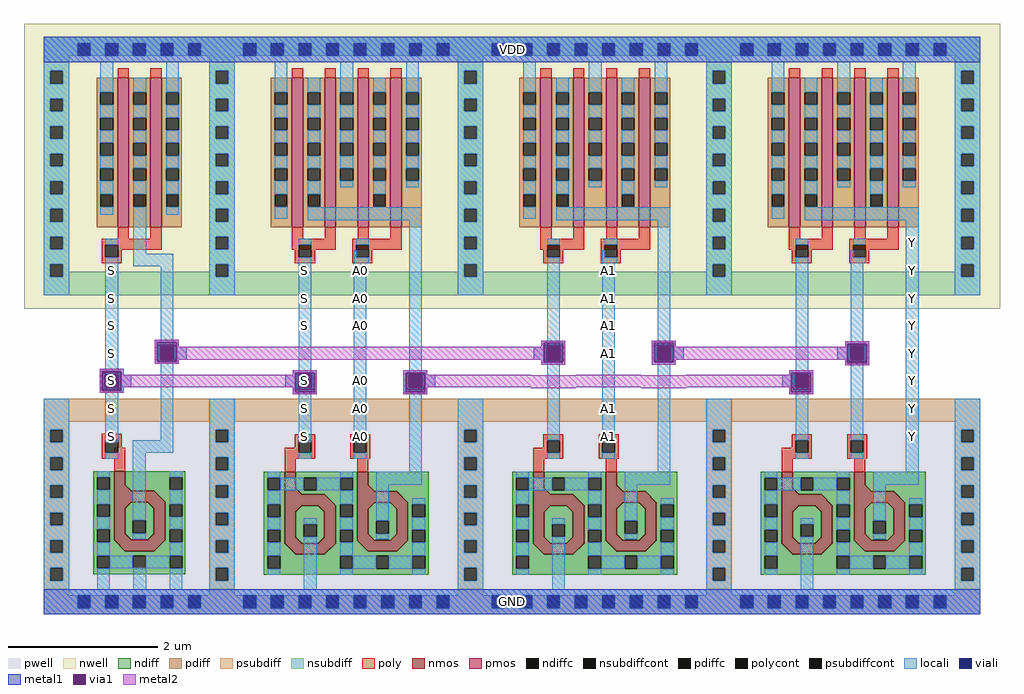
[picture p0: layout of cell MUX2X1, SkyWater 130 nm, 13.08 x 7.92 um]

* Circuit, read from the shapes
.subckt MUX2X1 Y A0 A1 S VDD GND
XM1 GND S n1 GND sky130_fd_pr__nfet_01v8 w=2.56 l=0.1469
XM2 n2 S GND GND sky130_fd_pr__nfet_01v8 w=2.6 l=0.1496
XM3 n2 A0 n3 GND sky130_fd_pr__nfet_01v8 w=2.56 l=0.1466
XM4 n4 n1 GND GND sky130_fd_pr__nfet_01v8 w=2.6 l=0.15
XM5 n4 A1 n5 GND sky130_fd_pr__nfet_01v8 w=2.56 l=0.1468
XM6 n6 n3 GND GND sky130_fd_pr__nfet_01v8 w=2.6 l=0.1495
XM7 n6 n5 Y GND sky130_fd_pr__nfet_01v8 w=2.56 l=0.1465
XM8 n1 S VDD VDD sky130_fd_pr__pfet_01v8 w=2 l=0.15 m=2
XM9 n3 S VDD VDD sky130_fd_pr__pfet_01v8 w=2 l=0.15 m=2
XM10 n3 A0 VDD VDD sky130_fd_pr__pfet_01v8 w=2 l=0.15 m=2
XM11 n5 n1 VDD VDD sky130_fd_pr__pfet_01v8 w=2 l=0.15 m=2
XM12 n5 A1 VDD VDD sky130_fd_pr__pfet_01v8 w=2 l=0.15 m=2
XM13 Y n3 VDD VDD sky130_fd_pr__pfet_01v8 w=2 l=0.15 m=2
XM14 Y n5 VDD VDD sky130_fd_pr__pfet_01v8 w=2 l=0.15 m=2
.ends

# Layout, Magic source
magic
tech sky130A
magscale 1 2
<< nwell >>
rect 57 1463 91 1497
<< pwell >>
rect 57 -17 91 17
<< locali >>
rect 2277 945 2311 979
rect 131 871 165 905
rect 649 871 683 905
rect 797 871 831 905
rect 1463 871 1497 905
rect 2277 871 2311 905
rect 131 797 165 831
rect 649 797 683 831
rect 797 797 831 831
rect 1463 797 1497 831
rect 2277 797 2311 831
rect 131 723 165 757
rect 649 723 683 757
rect 797 723 831 757
rect 1463 723 1497 757
rect 2277 723 2311 757
rect 131 649 165 683
rect 1463 649 1497 683
rect 2277 649 2311 683
rect 131 575 165 609
rect 649 575 683 609
rect 797 575 831 609
rect 2277 575 2311 609
rect 131 501 165 535
rect 649 501 683 535
rect 797 501 831 535
rect 1463 501 1497 535
rect 2277 501 2311 535
rect 131 427 165 461
rect 649 427 683 461
rect 797 427 831 461
rect 1463 427 1497 461
rect 2277 427 2311 461
<< metal1 >>
rect -34 1446 2476 1514
rect -34 -34 2476 34
use mux2x1_pcell  mux2x1_pcell_0 pcells
transform 1 0 0 0 1 0
box -87 -34 2529 1550
<< labels >>
rlabel locali 2277 649 2311 683 1 Y
port 1 nsew signal output
rlabel locali 2277 723 2311 757 1 Y
port 1 nsew signal output
rlabel locali 2277 797 2311 831 1 Y
port 1 nsew signal output
rlabel locali 2277 871 2311 905 1 Y
port 1 nsew signal output
rlabel locali 2277 945 2311 979 1 Y
port 1 nsew signal output
rlabel locali 2277 575 2311 609 1 Y
port 1 nsew signal output
rlabel locali 2277 501 2311 535 1 Y
port 1 nsew signal output
rlabel locali 2277 427 2311 461 1 Y
port 1 nsew signal output
rlabel locali 797 723 831 757 1 A0
port 2 nsew signal input
rlabel locali 797 797 831 831 1 A0
port 2 nsew signal input
rlabel locali 797 871 831 905 1 A0
port 2 nsew signal input
rlabel locali 797 575 831 609 1 A0
port 2 nsew signal input
rlabel locali 797 501 831 535 1 A0
port 2 nsew signal input
rlabel locali 797 427 831 461 1 A0
port 2 nsew signal input
rlabel locali 1463 723 1497 757 1 A1
port 3 nsew signal input
rlabel locali 1463 649 1497 683 1 A1
port 3 nsew signal input
rlabel locali 1463 501 1497 535 1 A1
port 3 nsew signal input
rlabel locali 1463 427 1497 461 1 A1
port 3 nsew signal input
rlabel locali 1463 871 1497 905 1 A1
port 3 nsew signal input
rlabel locali 1463 797 1497 831 1 A1
port 3 nsew signal input
rlabel locali 131 575 165 609 1 S
port 4 nsew signal input
rlabel locali 131 649 165 683 1 S
port 4 nsew signal input
rlabel locali 131 723 165 757 1 S
port 4 nsew signal input
rlabel locali 131 797 165 831 1 S
port 4 nsew signal input
rlabel locali 131 871 165 905 1 S
port 4 nsew signal input
rlabel locali 131 501 165 535 1 S
port 4 nsew signal input
rlabel locali 131 427 165 461 1 S
port 4 nsew signal input
rlabel locali 649 871 683 905 1 S
port 4 nsew signal input
rlabel locali 649 797 683 831 1 S
port 4 nsew signal input
rlabel locali 649 723 683 757 1 S
port 4 nsew signal input
rlabel locali 649 575 683 609 1 S
port 4 nsew signal input
rlabel locali 649 501 683 535 1 S
port 4 nsew signal input
rlabel locali 649 427 683 461 1 S
port 4 nsew signal input
rlabel metal1 -34 1446 2476 1514 1 VDD
port 5 nsew power bidirectional abutment
rlabel metal1 -34 -34 2476 34 1 GND
port 6 nsew ground bidirectional abutment


<< properties >>
string LEFclass CORE
string LEFsite unitrh
string FIXED_BBOX 0 0 2442 1480
string LEFsymmetry X Y R90
<< end >>

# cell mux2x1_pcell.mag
magic
tech sky130A
magscale 1 2
<< metal1 >>
rect 264 696 328 702
rect 264 644 270 696
rect 322 644 328 696
rect 264 638 328 644
rect 1300 694 1364 700
rect 1300 642 1306 694
rect 1358 642 1364 694
rect 1300 636 1364 642
rect 1596 694 1660 700
rect 1596 642 1602 694
rect 1654 642 1660 694
rect 1596 636 1660 642
rect 2114 692 2178 698
rect 2114 640 2120 692
rect 2172 640 2178 692
rect 2114 634 2178 640
rect 116 618 180 624
rect 116 566 122 618
rect 174 566 180 618
rect 116 560 180 566
rect 634 614 698 620
rect 634 562 640 614
rect 692 562 698 614
rect 634 556 698 562
rect 930 614 994 620
rect 930 562 936 614
rect 988 562 994 614
rect 930 556 994 562
rect 1964 614 2028 620
rect 1964 562 1970 614
rect 2022 562 2028 614
rect 1964 556 2028 562
<< via1 >>
rect 270 644 322 696
rect 1306 642 1358 694
rect 1602 642 1654 694
rect 2120 640 2172 692
rect 122 566 174 618
rect 640 562 692 614
rect 936 562 988 614
rect 1970 562 2022 614
<< metal2 >>
rect 264 696 328 702
rect 264 644 270 696
rect 322 683 328 696
rect 1300 694 1364 700
rect 1300 683 1306 694
rect 322 649 1306 683
rect 322 644 328 649
rect 264 638 328 644
rect 1300 642 1306 649
rect 1358 642 1364 694
rect 1300 636 1364 642
rect 1596 694 1660 700
rect 1596 642 1602 694
rect 1654 683 1660 694
rect 2114 692 2178 698
rect 2114 683 2120 692
rect 1654 649 2120 683
rect 1654 642 1660 649
rect 1596 636 1660 642
rect 2114 640 2120 649
rect 2172 640 2178 692
rect 2114 634 2178 640
rect 116 618 180 624
rect 116 566 122 618
rect 174 609 180 618
rect 634 614 698 620
rect 634 609 640 614
rect 174 575 640 609
rect 174 566 180 575
rect 116 560 180 566
rect 634 562 640 575
rect 692 562 698 614
rect 634 556 698 562
rect 930 614 994 620
rect 930 562 936 614
rect 988 609 994 614
rect 1964 614 2028 620
rect 1964 609 1970 614
rect 988 607 1272 609
rect 1392 607 1568 609
rect 1688 607 1970 609
rect 988 575 1970 607
rect 988 562 994 575
rect 1272 573 1392 575
rect 1568 573 1688 575
rect 930 556 994 562
rect 1964 562 1970 575
rect 2022 562 2028 614
rect 1964 556 2028 562
use invx1_pcell  invx1_pcell_0
transform 1 0 0 0 1 0
box -87 -34 531 1550
use li1_M1_contact  li1_M1_contact_0
transform 1 0 666 0 1 592
box -53 -33 29 33
use li1_M1_contact  li1_M1_contact_1
transform -1 0 296 0 -1 666
box -53 -33 29 33
use li1_M1_contact  li1_M1_contact_2
transform 1 0 1332 0 1 666
box -53 -33 29 33
use li1_M1_contact  li1_M1_contact_3
transform -1 0 962 0 -1 592
box -53 -33 29 33
use li1_M1_contact  li1_M1_contact_4
transform -1 0 1628 0 -1 666
box -53 -33 29 33
use li1_M1_contact  li1_M1_contact_5
transform 1 0 1998 0 1 592
box -53 -33 29 33
use li1_M1_contact  li1_M1_contact_6
transform -1 0 148 0 -1 592
box -53 -33 29 33
use li1_M1_contact  li1_M1_contact_7
transform 1 0 2146 0 1 666
box -53 -33 29 33
use nand2x1_pcell  nand2x1_pcell_0
transform 1 0 444 0 1 0
box -87 -34 753 1550
use nand2x1_pcell  nand2x1_pcell_1
transform 1 0 1110 0 1 0
box -87 -34 753 1550
use nand2x1_pcell  nand2x1_pcell_2
transform 1 0 1776 0 1 0
box -87 -34 753 1550
<< end >>

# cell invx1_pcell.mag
magic
tech sky130A
magscale 1 2
<< nwell >>
rect -87 786 531 1550
<< pwell >>
rect -34 -34 478 544
<< pdiffc >>
rect 118 1059 152 1093
rect 206 1059 240 1093
rect 294 1059 328 1093
<< psubdiff >>
rect 34 482 410 544
rect 34 -17 57 17
rect 91 -17 131 17
rect 165 -17 205 17
rect 239 -17 279 17
rect 313 -17 353 17
rect 387 -17 410 17
rect 34 -34 410 -17
<< nsubdiff >>
rect 34 1497 410 1514
rect 34 1463 57 1497
rect 91 1463 131 1497
rect 165 1463 205 1497
rect 239 1463 279 1497
rect 313 1463 353 1497
rect 387 1463 410 1497
rect 34 822 410 884
<< psubdiffcont >>
rect 57 -17 91 17
rect 131 -17 165 17
rect 205 -17 239 17
rect 279 -17 313 17
rect 353 -17 387 17
<< nsubdiffcont >>
rect 57 1463 91 1497
rect 131 1463 165 1497
rect 205 1463 239 1497
rect 279 1463 313 1497
rect 353 1463 387 1497
<< poly >>
rect 155 381 185 413
<< locali >>
rect 34 1497 410 1514
rect 34 1463 57 1497
rect 91 1463 131 1497
rect 165 1463 205 1497
rect 239 1463 279 1497
rect 313 1463 353 1497
rect 387 1463 410 1497
rect 34 1446 410 1463
rect 118 1093 152 1111
rect 118 1037 152 1059
rect 206 1093 240 1111
rect 206 933 240 1059
rect 294 1093 328 1111
rect 294 1037 328 1059
rect 131 449 165 908
rect 206 899 313 933
rect 279 433 313 899
rect 205 399 313 433
rect 205 233 239 399
rect 109 34 143 90
rect 206 34 240 91
rect 303 34 337 90
rect 34 17 410 34
rect 34 -17 57 17
rect 91 -17 131 17
rect 165 -17 205 17
rect 239 -17 279 17
rect 313 -17 353 17
rect 387 -17 410 17
rect 34 -34 410 -17
<< viali >>
rect 57 1463 91 1497
rect 131 1463 165 1497
rect 205 1463 239 1497
rect 279 1463 313 1497
rect 353 1463 387 1497
rect 57 -17 91 17
rect 131 -17 165 17
rect 205 -17 239 17
rect 279 -17 313 17
rect 353 -17 387 17
<< metal1 >>
rect 34 1497 410 1514
rect 34 1463 57 1497
rect 91 1463 131 1497
rect 165 1463 205 1497
rect 239 1463 279 1497
rect 313 1463 353 1497
rect 387 1463 410 1497
rect 34 1446 410 1463
rect 34 17 410 34
rect 34 -17 57 17
rect 91 -17 131 17
rect 165 -17 205 17
rect 239 -17 279 17
rect 313 -17 353 17
rect 387 -17 410 17
rect 34 -34 410 -17
use poly_li1_contact  poly_li1_contact_1
transform 0 -1 147 1 0 416
box -32 -28 34 26
use nmos_top  nmos_top_0
transform -1 0 345 0 1 74
box 0 0 246 308
use pmos2  pmos2_0
transform 1 0 20 0 1 1404
box 52 -461 352 42
use poly_li1_contact  poly_li1_contact_0
transform 0 1 149 -1 0 941
box -32 -28 34 26
use diff_ring_side  diff_ring_side_0
transform 1 0 444 0 1 0
box -87 -34 87 1550
use diff_ring_side  diff_ring_side_1
transform 1 0 0 0 1 0
box -87 -34 87 1550
<< end >>

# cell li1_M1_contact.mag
magic
tech sky130A
magscale 1 2
<< locali >>
rect -17 17 17 33
rect -17 -33 17 -17
<< viali >>
rect -17 -17 17 17
<< metal1 >>
rect -23 17 23 23
rect -53 -17 -17 17
rect 17 -17 29 17
rect -23 -23 23 -17
<< end >>

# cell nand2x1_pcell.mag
magic
tech sky130A
magscale 1 2
<< nwell >>
rect 87 786 579 1550
<< pwell >>
rect 34 542 632 544
rect -31 -30 697 542
rect 34 -34 632 -30
<< pdiffc >>
rect 141 1059 175 1093
rect 229 1059 263 1093
rect 405 1059 439 1093
<< psubdiff >>
rect 34 542 632 544
rect 31 482 635 542
rect 31 480 34 482
rect 632 480 635 482
rect 31 -17 57 17
rect 91 -17 131 17
rect 165 -17 205 17
rect 239 -17 279 17
rect 313 -17 353 17
rect 387 -17 427 17
rect 461 -17 501 17
rect 535 -17 575 17
rect 609 -17 635 17
rect 31 -30 635 -17
rect 34 -34 632 -30
<< nsubdiff >>
rect 34 1497 632 1514
rect 34 1463 57 1497
rect 91 1463 131 1497
rect 165 1463 205 1497
rect 239 1463 279 1497
rect 313 1463 353 1497
rect 387 1463 427 1497
rect 461 1463 501 1497
rect 535 1463 575 1497
rect 609 1463 632 1497
rect 34 822 632 884
<< psubdiffcont >>
rect 57 -17 91 17
rect 131 -17 165 17
rect 205 -17 239 17
rect 279 -17 313 17
rect 353 -17 387 17
rect 427 -17 461 17
rect 501 -17 535 17
rect 575 -17 609 17
<< nsubdiffcont >>
rect 57 1463 91 1497
rect 131 1463 165 1497
rect 205 1463 239 1497
rect 279 1463 313 1497
rect 353 1463 387 1497
rect 427 1463 461 1497
rect 501 1463 535 1497
rect 575 1463 609 1497
<< poly >>
rect 168 375 198 413
rect 362 382 392 383
<< locali >>
rect 34 1497 632 1514
rect 34 1463 57 1497
rect 91 1463 131 1497
rect 165 1463 205 1497
rect 239 1463 279 1497
rect 313 1463 353 1497
rect 387 1463 427 1497
rect 461 1463 501 1497
rect 535 1463 575 1497
rect 609 1463 632 1497
rect 34 1446 632 1463
rect 141 1093 175 1111
rect 141 1027 175 1059
rect 229 1093 263 1111
rect 229 1057 263 1059
rect 405 1093 439 1111
rect 405 1057 439 1059
rect 229 1023 535 1057
rect 353 908 361 942
rect 205 433 239 908
rect 353 441 387 908
rect 353 433 357 441
rect 501 348 535 1023
rect 413 314 535 348
rect 413 233 447 314
rect 219 34 253 167
rect 34 32 632 34
rect 31 17 635 32
rect 31 -17 57 17
rect 91 -17 131 17
rect 165 -17 205 17
rect 239 -17 279 17
rect 313 -17 353 17
rect 387 -17 427 17
rect 461 -17 501 17
rect 535 -17 575 17
rect 609 -17 635 17
rect 31 -30 635 -17
rect 34 -34 632 -30
<< viali >>
rect 57 1463 91 1497
rect 131 1463 165 1497
rect 205 1463 239 1497
rect 279 1463 313 1497
rect 353 1463 387 1497
rect 427 1463 461 1497
rect 501 1463 535 1497
rect 575 1463 609 1497
rect 57 -17 91 17
rect 131 -17 165 17
rect 205 -17 239 17
rect 279 -17 313 17
rect 353 -17 387 17
rect 427 -17 461 17
rect 501 -17 535 17
rect 575 -17 609 17
<< metal1 >>
rect 34 1497 632 1514
rect 34 1463 57 1497
rect 91 1463 131 1497
rect 165 1463 205 1497
rect 239 1463 279 1497
rect 313 1463 353 1497
rect 387 1463 427 1497
rect 461 1463 501 1497
rect 535 1463 575 1497
rect 609 1463 632 1497
rect 34 1446 632 1463
rect 34 32 632 34
rect 31 17 635 32
rect 31 -17 57 17
rect 91 -17 131 17
rect 165 -17 205 17
rect 239 -17 279 17
rect 313 -17 353 17
rect 387 -17 427 17
rect 461 -17 501 17
rect 535 -17 575 17
rect 609 -17 635 17
rect 31 -30 635 -17
rect 34 -34 632 -30
use poly_li1_contact  poly_li1_contact_1
transform 0 1 223 -1 0 417
box -32 -28 34 26
use nmos_bottom  nmos_bottom_0
transform -1 0 360 0 1 73
box 0 0 248 302
use poly_li1_contact  poly_li1_contact_0
transform 0 1 223 -1 0 941
box -32 -28 34 26
use pmos2  pmos2_0
transform 1 0 43 0 1 1404
box 52 -461 352 42
use poly_li1_contact  poly_li1_contact_2
transform 0 -1 369 1 0 415
box -32 -28 34 26
use nmos_top_trim1  nmos_top_trim1_0
transform -1 0 554 0 1 73
box 0 0 248 309
use poly_li1_contact  poly_li1_contact_3
transform 0 1 377 -1 0 941
box -32 -28 34 26
use pmos2  pmos2_1
transform 1 0 219 0 1 1404
box 52 -461 352 42
use diff_ring_side  diff_ring_side_0
transform 1 0 666 0 1 0
box -87 -34 87 1550
use diff_ring_side  diff_ring_side_1
transform 1 0 0 0 1 0
box -87 -34 87 1550
<< end >>

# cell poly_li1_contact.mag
magic
tech sky130
<< poly >>
rect -16 8 17 13
rect -16 -9 -8 8
rect 9 -9 17 8
rect -16 -14 17 -9
<< polycont >>
rect -8 -9 9 8
<< locali >>
rect -16 -9 -8 8
rect 9 -9 17 8
<< end >>

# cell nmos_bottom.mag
magic
tech sky130A
magscale 1 2
<< nmos >>
tri 146 215 162 231 se
rect 162 215 192 276
tri 56 185 86 215 se
rect 86 185 192 215
rect 56 84 86 185
tri 86 169 102 185 nw
tri 146 169 162 185 ne
tri 86 84 102 100 sw
tri 146 84 162 100 se
rect 162 84 192 185
tri 56 54 86 84 ne
rect 86 54 162 84
tri 162 54 192 84 nw
<< ndiff >>
rect 0 260 162 276
rect 0 226 10 260
rect 44 226 107 260
rect 141 231 162 260
rect 141 226 146 231
rect 0 215 146 226
tri 146 215 162 231 nw
rect 192 260 248 276
rect 192 226 204 260
rect 238 226 248 260
rect 0 188 56 215
rect 0 154 10 188
rect 44 154 56 188
tri 56 185 86 215 nw
rect 192 188 248 226
rect 0 120 56 154
rect 0 86 10 120
rect 44 86 56 120
rect 0 54 56 86
tri 86 169 102 185 se
rect 102 169 146 185
tri 146 169 162 185 sw
rect 86 135 162 169
rect 86 101 107 135
rect 141 101 162 135
rect 86 100 162 101
tri 86 84 102 100 ne
rect 102 84 146 100
tri 146 84 162 100 nw
rect 192 154 204 188
rect 238 154 248 188
rect 192 120 248 154
rect 192 86 204 120
rect 238 86 248 120
tri 56 54 86 84 sw
tri 162 54 192 84 se
rect 192 54 248 86
rect 0 50 248 54
rect 0 16 10 50
rect 44 16 204 50
rect 238 16 248 50
rect 0 0 248 16
<< ndiffc >>
rect 10 226 44 260
rect 107 226 141 260
rect 204 226 238 260
rect 10 154 44 188
rect 10 86 44 120
rect 107 101 141 135
rect 204 154 238 188
rect 204 86 238 120
rect 10 16 44 50
rect 204 16 238 50
<< poly >>
rect 162 276 192 302
<< locali >>
rect 10 260 44 276
rect 204 260 238 276
rect 44 226 107 260
rect 141 226 204 260
rect 10 188 44 226
rect 10 120 44 154
rect 204 188 238 226
rect 10 50 44 86
rect 107 135 141 151
rect 107 85 141 101
rect 204 120 238 154
rect 10 0 44 16
rect 204 50 238 86
rect 204 0 238 16
<< end >>

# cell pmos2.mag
magic
tech sky130A
magscale 1 2
<< nwell >>
rect 52 -436 352 36
<< pmos >>
rect 144 -400 174 0
rect 232 -400 262 0
<< pdiff >>
rect 88 -38 144 0
rect 88 -72 98 -38
rect 132 -72 144 -38
rect 88 -106 144 -72
rect 88 -140 98 -106
rect 132 -140 144 -106
rect 88 -174 144 -140
rect 88 -208 98 -174
rect 132 -208 144 -174
rect 88 -242 144 -208
rect 88 -276 98 -242
rect 132 -276 144 -242
rect 88 -400 144 -276
rect 174 -38 232 0
rect 174 -72 186 -38
rect 220 -72 232 -38
rect 174 -106 232 -72
rect 174 -140 186 -106
rect 220 -140 232 -106
rect 174 -174 232 -140
rect 174 -208 186 -174
rect 220 -208 232 -174
rect 174 -242 232 -208
rect 174 -276 186 -242
rect 220 -276 232 -242
rect 174 -400 232 -276
rect 262 -38 316 0
rect 262 -72 274 -38
rect 308 -72 316 -38
rect 262 -106 316 -72
rect 262 -140 274 -106
rect 308 -140 316 -106
rect 262 -174 316 -140
rect 262 -208 274 -174
rect 308 -208 316 -174
rect 262 -242 316 -208
rect 262 -276 274 -242
rect 308 -276 316 -242
rect 262 -400 316 -276
<< pdiffc >>
rect 98 -72 132 -38
rect 98 -140 132 -106
rect 98 -208 132 -174
rect 98 -276 132 -242
rect 186 -72 220 -38
rect 186 -140 220 -106
rect 186 -208 220 -174
rect 186 -276 220 -242
rect 274 -72 308 -38
rect 274 -140 308 -106
rect 274 -208 308 -174
rect 274 -276 308 -242
<< poly >>
rect 144 0 174 26
rect 232 0 262 26
rect 144 -431 174 -400
rect 232 -431 262 -400
rect 144 -461 262 -431
<< locali >>
rect 98 -38 132 42
rect 98 -106 132 -72
rect 98 -174 132 -140
rect 98 -242 132 -208
rect 98 -293 132 -276
rect 186 -38 220 0
rect 186 -106 220 -72
rect 186 -174 220 -140
rect 186 -242 220 -208
rect 186 -293 220 -276
rect 274 -38 308 42
rect 274 -106 308 -72
rect 274 -174 308 -140
rect 274 -242 308 -208
rect 274 -293 308 -276
<< end >>

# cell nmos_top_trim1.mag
magic
tech sky130
magscale 1 2
<< nmos >>
tri 146 223 162 239 se
rect 162 223 192 276
tri 56 193 86 223 se
rect 86 193 192 223
rect 56 92 86 193
tri 86 177 102 193 nw
tri 146 177 162 193 ne
tri 86 92 102 108 sw
tri 146 92 162 108 se
rect 162 92 192 193
tri 56 62 86 92 ne
rect 86 62 162 92
tri 162 62 192 92 nw
<< ndiff >>
rect 0 239 162 276
rect 0 223 146 239
tri 146 223 162 239 nw
rect 192 260 248 276
rect 192 226 204 260
rect 238 226 248 260
rect 0 188 56 223
tri 56 193 86 223 nw
rect 0 154 10 188
rect 44 154 56 188
rect 0 120 56 154
rect 0 86 10 120
rect 44 86 56 120
tri 86 177 102 193 se
rect 102 177 146 193
tri 146 177 162 193 sw
rect 86 144 162 177
rect 86 110 107 144
rect 141 110 162 144
rect 86 108 162 110
tri 86 92 102 108 ne
rect 102 92 146 108
tri 146 92 162 108 nw
rect 192 188 248 226
rect 192 154 204 188
rect 238 154 248 188
rect 192 120 248 154
rect 0 62 56 86
tri 56 62 86 92 sw
tri 162 62 192 92 se
rect 192 86 204 120
rect 238 86 248 120
rect 192 62 248 86
rect 0 50 248 62
rect 0 16 10 50
rect 44 16 107 50
rect 141 16 204 50
rect 238 16 248 50
rect 0 0 248 16
<< ndiffc >>
rect 204 226 238 260
rect 10 154 44 188
rect 10 86 44 120
rect 107 110 141 144
rect 204 154 238 188
rect 204 86 238 120
rect 10 16 44 50
rect 107 16 141 50
rect 204 16 238 50
<< poly >>
rect 162 276 192 309
<< locali >>
rect 204 260 238 276
rect 10 188 44 204
rect 204 188 238 226
rect 10 120 44 154
rect 107 144 141 161
rect 107 94 141 110
rect 204 120 238 154
rect 10 50 44 86
rect 204 50 238 86
rect 44 16 107 50
rect 141 16 204 50
rect 10 0 44 16
rect 204 0 238 16
<< end >>

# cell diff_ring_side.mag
magic
tech sky130A
magscale 1 2
<< nwell >>
rect -87 786 87 1550
<< pwell >>
rect -34 -34 34 544
<< psubdiff >>
rect -34 461 34 544
rect -34 427 -17 461
rect 17 427 34 461
rect -34 387 34 427
rect -34 353 -17 387
rect 17 353 34 387
rect -34 313 34 353
rect -34 279 -17 313
rect 17 279 34 313
rect -34 239 34 279
rect -34 205 -17 239
rect 17 205 34 239
rect -34 165 34 205
rect -34 131 -17 165
rect 17 131 34 165
rect -34 91 34 131
rect -34 57 -17 91
rect 17 57 34 91
rect -34 -34 34 57
<< nsubdiff >>
rect -34 1423 34 1514
rect -34 1389 -17 1423
rect 17 1389 34 1423
rect -34 1349 34 1389
rect -34 1315 -17 1349
rect 17 1315 34 1349
rect -34 1275 34 1315
rect -34 1241 -17 1275
rect 17 1241 34 1275
rect -34 1201 34 1241
rect -34 1167 -17 1201
rect 17 1167 34 1201
rect -34 1127 34 1167
rect -34 1093 -17 1127
rect 17 1093 34 1127
rect -34 1053 34 1093
rect -34 1019 -17 1053
rect 17 1019 34 1053
rect -34 979 34 1019
rect -34 945 -17 979
rect 17 945 34 979
rect -34 905 34 945
rect -34 871 -17 905
rect 17 871 34 905
rect -34 822 34 871
<< psubdiffcont >>
rect -17 427 17 461
rect -17 353 17 387
rect -17 279 17 313
rect -17 205 17 239
rect -17 131 17 165
rect -17 57 17 91
<< nsubdiffcont >>
rect -17 1389 17 1423
rect -17 1315 17 1349
rect -17 1241 17 1275
rect -17 1167 17 1201
rect -17 1093 17 1127
rect -17 1019 17 1053
rect -17 945 17 979
rect -17 871 17 905
<< locali >>
rect -34 1423 34 1514
rect -34 1389 -17 1423
rect 17 1389 34 1423
rect -34 1349 34 1389
rect -34 1315 -17 1349
rect 17 1315 34 1349
rect -34 1275 34 1315
rect -34 1241 -17 1275
rect 17 1241 34 1275
rect -34 1201 34 1241
rect -34 1167 -17 1201
rect 17 1167 34 1201
rect -34 1127 34 1167
rect -34 1093 -17 1127
rect 17 1093 34 1127
rect -34 1053 34 1093
rect -34 1019 -17 1053
rect 17 1019 34 1053
rect -34 979 34 1019
rect -34 945 -17 979
rect 17 945 34 979
rect -34 905 34 945
rect -34 871 -17 905
rect 17 871 34 905
rect -34 822 34 871
rect -34 461 34 544
rect -34 427 -17 461
rect 17 427 34 461
rect -34 387 34 427
rect -34 353 -17 387
rect 17 353 34 387
rect -34 313 34 353
rect -34 279 -17 313
rect 17 279 34 313
rect -34 239 34 279
rect -34 205 -17 239
rect 17 205 34 239
rect -34 165 34 205
rect -34 131 -17 165
rect 17 131 34 165
rect -34 91 34 131
rect -34 57 -17 91
rect 17 57 34 91
rect -34 -34 34 57
<< metal1 >>
rect -34 1446 34 1514
rect -34 -34 34 34
<< end >>

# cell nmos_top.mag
magic
tech sky130
magscale 1 2
<< nmos >>
tri 144 223 160 239 se
rect 160 223 190 276
tri 54 193 84 223 se
rect 84 193 190 223
rect 54 92 84 193
tri 84 177 100 193 nw
tri 144 177 160 193 ne
tri 84 92 100 108 sw
tri 144 92 160 108 se
rect 160 92 190 193
tri 54 62 84 92 ne
rect 84 62 160 92
tri 160 62 190 92 nw
<< ndiff >>
rect 0 260 160 276
rect 0 226 8 260
rect 42 239 160 260
rect 42 226 144 239
rect 0 223 144 226
tri 144 223 160 239 nw
rect 190 260 246 276
rect 190 226 202 260
rect 236 226 246 260
rect 0 188 54 223
tri 54 193 84 223 nw
rect 0 154 8 188
rect 42 154 54 188
rect 0 120 54 154
rect 0 86 8 120
rect 42 86 54 120
tri 84 177 100 193 se
rect 100 177 144 193
tri 144 177 160 193 sw
rect 84 144 160 177
rect 84 110 106 144
rect 140 110 160 144
rect 84 108 160 110
tri 84 92 100 108 ne
rect 100 92 144 108
tri 144 92 160 108 nw
rect 190 188 246 226
rect 190 154 202 188
rect 236 154 246 188
rect 190 120 246 154
rect 0 62 54 86
tri 54 62 84 92 sw
tri 160 62 190 92 se
rect 190 86 202 120
rect 236 86 246 120
rect 190 62 246 86
rect 0 50 246 62
rect 0 16 8 50
rect 42 16 106 50
rect 140 16 202 50
rect 236 16 246 50
rect 0 0 246 16
<< ndiffc >>
rect 8 226 42 260
rect 202 226 236 260
rect 8 154 42 188
rect 8 86 42 120
rect 106 110 140 144
rect 202 154 236 188
rect 202 86 236 120
rect 8 16 42 50
rect 106 16 140 50
rect 202 16 236 50
<< poly >>
rect 160 276 190 308
<< locali >>
rect 8 260 42 276
rect 8 188 42 226
rect 202 260 236 276
rect 202 188 236 226
rect 8 120 42 154
rect 106 144 140 161
rect 106 94 140 110
rect 202 120 236 154
rect 8 50 42 86
rect 202 50 236 86
rect 42 16 106 50
rect 140 16 202 50
rect 8 0 42 16
rect 202 0 236 16
<< end >>
